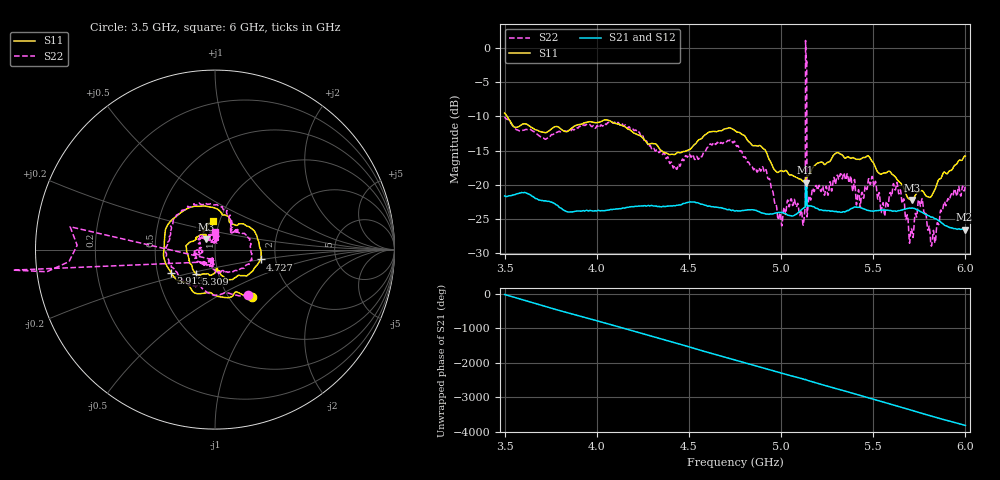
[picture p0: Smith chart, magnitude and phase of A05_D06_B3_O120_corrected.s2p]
! Created with skrf 1.9.0 (http://scikit-rf.org).
# Hz S RI R 50.0
!freq ReS11 ImS11 ReS21 ImS21 ReS12 ImS12 ReS22 ImS22
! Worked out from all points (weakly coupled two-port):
!   1601 points, 3.5 GHz to 6 GHz, reference 50 ohm
!   highest |S21| = -19.67 dB at 5.133 GHz (marker M1); lowest = -26.5 dB at 5.995 GHz (marker M2)
!   lowest |S11| = -22.2 dB at 5.709 GHz (marker M3), VSWR 1.17, Z = 44.8 + j5.21 ohm
!   |S11| at or under -10 dB: 3.514 GHz to end of sweep
!   |S22| runs from -29.0 to 1.1 dB; largest |S21 - S12| = 0.0011
!   S11 on the Smith chart (normalised r, x): 3.5 GHz: 1.28, -0.75; 3.913 GHz: 0.59, -0.17; 4.727 GHz: 1.67, -0.20; 5.309 GHz: 0.78, -0.21; 6 GHz: 0.93, +0.31
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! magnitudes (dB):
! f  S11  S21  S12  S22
! 3.5 GHz  -9.5  -21.6  -21.6  -10.1
! 3.913 GHz  -11.2  -23.9  -23.8  -11.5
! 3.917 GHz  -11.1  -23.8  -23.8  -11.5
! 4.334 GHz  -14.5  -23.2  -23.1  -15.2
! 4.427 GHz  -15.5  -23.1  -23.0  -17.3
! 4.727 GHz  -11.7  -23.7  -23.6  -13.4
! 4.75 GHz  -12.1  -23.8  -23.8  -13.8
! 4.911 GHz  -14.8  -24.2  -24.1  -18.1
! 4.995 GHz  -18.0  -24.0  -24.0  -24.1
! 5.119 GHz  -19.5  -23.4  -23.4  -25.8
! 5.127 GHz  -19.5  -23.3  -23.3  -24.4
! 5.133 GHz  -19.1  -19.7  -19.6  1.1
! 5.153 GHz  -18.5  -23.1  -23.0  -21.6
! 5.167 GHz  -17.7  -23.1  -23.1  -21.0
! 5.309 GHz  -15.3  -24.0  -23.9  -18.9
! 5.584 GHz  -18.0  -23.7  -23.7  -22.4
! 5.638 GHz  -19.5  -23.8  -23.7  -21.2
! 5.709 GHz  -22.2  -23.4  -23.3  -26.5
! 5.756 GHz  -20.9  -23.9  -23.8  -23.2
! 5.825 GHz  -21.2  -24.8  -24.7  -26.8
! 5.995 GHz  -15.8  -26.5  -26.4  -20.8
! 6 GHz  -15.8  -26.5  -26.5  -20.0
